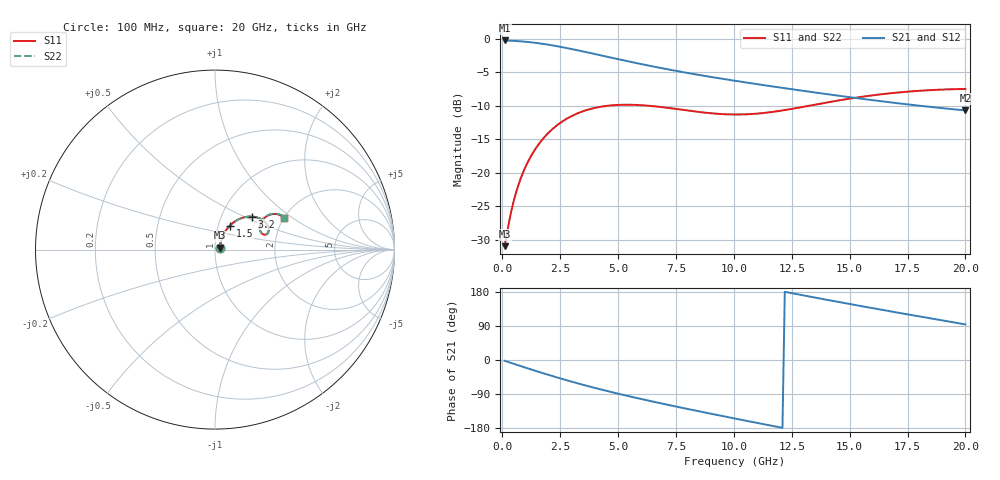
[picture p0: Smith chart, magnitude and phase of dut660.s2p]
! Touchstone file exported from HFSS 2024.1.0
!  File:  C:/UserFiles/LocalFiles/RDL_TSV_Batchsim/temp_RDL_TSV_660_1779811632.aedt
!  Generated:  12:25:22 AM May 27, 2026
!  Design:  RDL_TSV
!  Project:  temp_RDL_TSV_660_1779811632
!  Setup:  Setup1
!  Solution:  Sweep
! Variables:
!  dtsv = 5.3um
!  hbump = 3um
!  htsv = 78.95um
!  ldown = 558.93um
!  lrdl = 591.21um
!  p = 40
!  p1 = 43.23um
!  rhole = 10um
!  subl = 4041.63um
!  t = 450um
!  tdown = 4.04um
!  trdl = 4.3um
!  viad = 10um
!  wdown = 22.28um
!  wrdl = 11um
!  xbump = 18um
# GHz S MA R 50.000000
! Terminal data exported
! Port[1] = TM1_1_T1
! Port[2] = TM1_4_T1
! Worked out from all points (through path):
!   200 points, 100 MHz to 20 GHz, reference 50 ohm
!   highest |S21| = -0.23 dB at 100 MHz (marker M1); lowest = -10.7 dB at 20 GHz (marker M2)
!   group delay of S21, straight-line fit = 35.5 ps
!   lowest |S11| = -31.0 dB at 100 MHz (marker M3), VSWR 1.06, Z = 52.7 + j1.18 ohm
!   |S11| at or under -10 dB: start of sweep to 4.507 GHz; 6.392 GHz to 13.22 GHz (6.833 GHz wide, 69.7 % of centre)
!   |S22| runs from -31.0 to -7.4 dB; largest |S21 - S12| = 9.3e-15
!   S11 on the Smith chart (normalised r, x): 100 MHz: 1.05, +0.02; 1.5 GHz: 1.14, +0.31; 3.2 GHz: 1.39, +0.55; 20 GHz: 2.00, +0.86
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0.1  0.02834 23.2  0.974 -2.1  0.974 -2.1  0.02834 23.2
! Gamma 0 0 0 0
! Port Impedance 50 0 50 0
0.4  0.05289 52.7  0.9693 -8.2  0.9693 -8.2  0.05289 52.7
0.7  0.08155 59.4  0.9623 -14.2  0.9623 -14.2  0.08155 59.4
1.1  0.1201 60.4  0.9493 -22.1  0.9493 -22.1  0.1201 60.4
1.5  0.1572 58.2  0.9319 -29.9  0.9319 -29.9  0.1572 58.2
1.9  0.1914 54.8  0.9107 -37.5  0.9107 -37.5  0.1914 54.8
2.3  0.222 50.9  0.8867 -44.9  0.8867 -44.9  0.222 50.9
2.7  0.2486 46.8  0.8606 -52.0  0.8606 -52.0  0.2486 46.9
3.2  0.2758 41.8  0.8264 -60.7  0.8264 -60.7  0.2759 41.8
3.5  0.2889 38.9  0.8056 -65.7  0.8056 -65.7  0.2889 38.9
4.2  0.3104 32.5  0.7578 -76.8  0.7578 -76.8  0.3105 32.6
5.1  0.3221 25.7  0.7001 -90.3  0.7001 -90.3  0.3222 25.8
5.9  0.3208 21.1  0.6542 -101.6  0.6542 -101.6  0.321 21.2
6.8  0.311 17.8  0.6087 -113.7  0.6087 -113.7  0.3111 17.9
8.4  0.2862 16.9  0.5419 -134.2  0.5419 -134.2  0.2863 17.0
10.1  0.2726 22.1  0.4854 -155.1  0.4854 -155.1  0.2728 22.3
11.7  0.2855 28.6  0.441 -174.3  0.441 -174.3  0.2859 28.8
13.4  0.3203 32.5  0.4004 165.9  0.4004 165.9  0.3209 32.7
15  0.3582 32.6  0.3672 147.8  0.3672 147.8  0.3591 32.8
16.7  0.3919 30.4  0.3369 129.1  0.3369 129.1  0.3932 30.6
18.3  0.4129 27.6  0.3132 111.9  0.3132 111.9  0.4145 27.8
20  0.4234 24.6  0.2925 94.0  0.2925 94.0  0.4252 24.8
